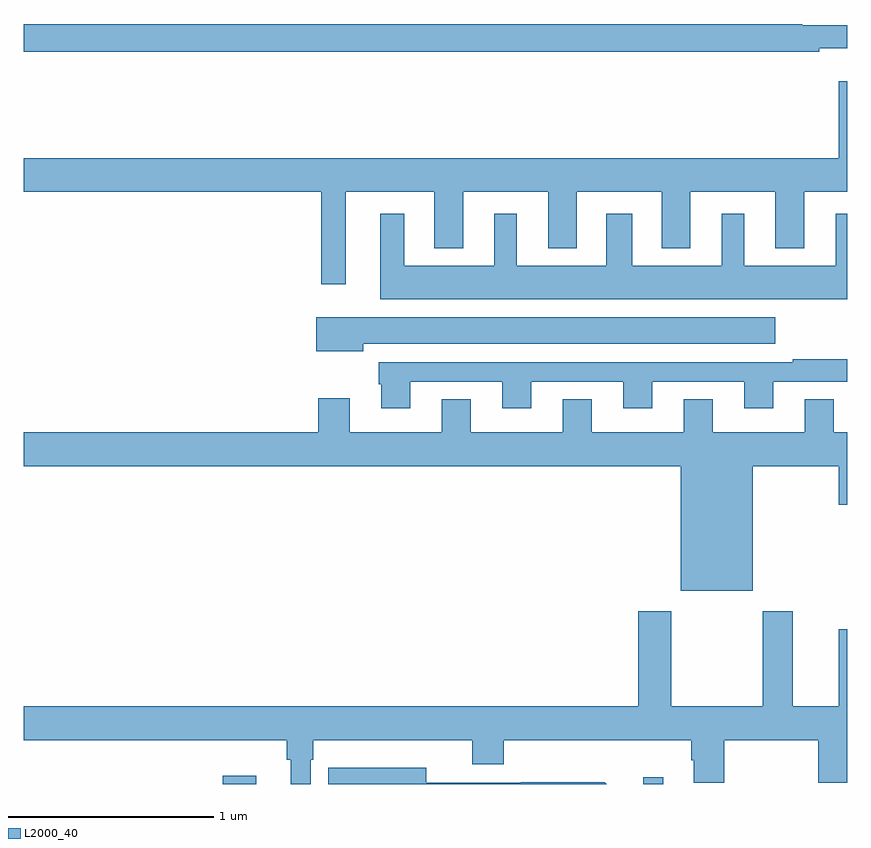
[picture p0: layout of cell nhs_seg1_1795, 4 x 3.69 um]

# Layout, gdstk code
import gdstk
lib = gdstk.Library(unit=1e-6, precision=1e-09)
def R(c, l, rs):  # rectangles x0, y0, x1, y1
    for r in rs: c.add(gdstk.rectangle(r[:2], r[2:], *l))
def P(c, l, *ps):  # polygons
    for p in ps: c.add(gdstk.Polygon(p, *l))
L2000_40 = (2000, 40)

nhs_seg1_1795 = lib.new_cell('nhs_seg1_1795')
R(nhs_seg1_1795, L2000_40, [(209.966,538.199,210.13,538.24), (212.01,538.199,212.107,538.231)])
P(nhs_seg1_1795, L2000_40, [(212.864,541.775),(213,541.775),(213,541.885),(212.782,541.885),(212.782,541.892),(209,541.892),(209,541.756),(212.864,541.756)],
  [(209,541.076),(210.444,541.076),(210.444,540.627),(210.565,540.627),(210.565,541.076),(210.995,541.076),(210.995,540.803),(211.135,540.803),(211.135,541.076),(211.547,541.076),(211.547,540.803),(211.687,540.803),(211.687,541.076),(212.099,541.076),(212.099,540.803),(212.239,540.803),(212.239,541.076),(212.651,541.076),(212.651,540.803),(212.791,540.803),(212.791,541.076),(213,541.076),(213,541.615),(212.96,541.615),(212.96,541.24),(209,541.24)],
  [(213,540.97),(212.945,540.97),(212.945,540.718),(212.5,540.718),(212.5,540.97),(212.39,540.97),(212.39,540.718),(211.957,540.718),(211.957,540.97),(211.829,540.97),(211.829,540.718),(211.396,540.718),(211.396,540.97),(211.286,540.97),(211.286,540.718),(210.847,540.718),(210.847,540.97),(210.731,540.97),(210.731,540.554),(213,540.554)],
  [(210.649,540.338),(212.65,540.338),(212.65,540.466),(210.42,540.466),(210.42,540.302),(210.649,540.302)],
  [(210.877,540.153),(211.325,540.153),(211.325,540.024),(211.465,540.024),(211.465,540.153),(211.913,540.153),(211.913,540.024),(212.053,540.024),(212.053,540.153),(212.501,540.153),(212.501,540.024),(212.641,540.024),(212.641,540.153),(213,540.153),(213,540.262),(212.737,540.262),(212.737,540.249),(210.725,540.249),(210.725,540.141),(210.737,540.141),(210.737,540.024),(210.877,540.024)],
  [(212.542,539.744),(212.96,539.744),(212.96,539.556),(213,539.556),(213,539.908),(212.935,539.908),(212.935,540.068),(212.795,540.068),(212.795,539.908),(212.347,539.908),(212.347,540.068),(212.207,540.068),(212.207,539.908),(211.759,539.908),(211.759,540.068),(211.619,540.068),(211.619,539.908),(211.171,539.908),(211.171,540.068),(211.031,540.068),(211.031,539.908),(210.583,539.908),(210.583,540.073),(210.431,540.073),(210.431,539.908),(209,539.908),(209,539.744),(212.192,539.744),(212.192,539.138),(212.542,539.138)],
  [(212.243,538.314),(212.255,538.314),(212.255,538.204),(212.403,538.204),(212.403,538.412),(212.86,538.412),(212.86,538.204),(213,538.204),(213,538.951),(212.96,538.951),(212.96,538.576),(212.737,538.576),(212.737,539.038),(212.59,539.038),(212.59,538.576),(212.145,538.576),(212.145,539.038),(211.985,539.038),(211.985,538.576),(209,538.576),(209,538.412),(210.277,538.412),(210.277,538.316),(210.296,538.316),(210.296,538.199),(210.393,538.199),(210.393,538.316),(210.407,538.316),(210.407,538.412),(211.178,538.412),(211.178,538.295),(211.331,538.295),(211.331,538.412),(212.243,538.412)],
  [(211.822,538.208),(211.414,538.208),(211.414,538.206),(210.954,538.206),(210.954,538.279),(210.586,538.279),(210.586,538.278),(210.478,538.278),(210.478,538.199),(211.831,538.199)])

lib.write_gds('nhs_seg1_1795.gds')
